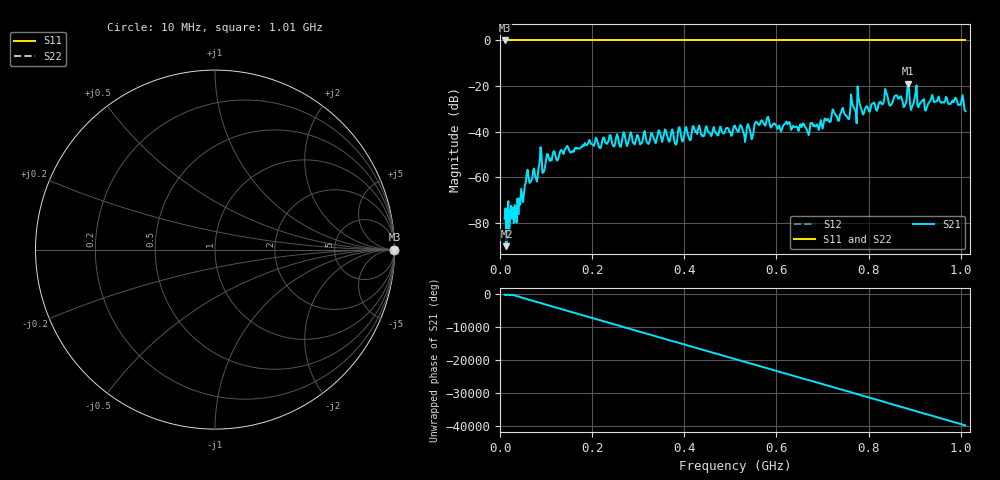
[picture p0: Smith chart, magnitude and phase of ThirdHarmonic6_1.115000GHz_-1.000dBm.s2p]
! 8/16/2025 10:39:49 AM
! C:\ANRITSUVNA\TEMP\TEMP.S2P
! CHANNEL.1
! TR.MEASUREMENT
! RAW.DATA
! RF.CORRECTION.OFF
! AVERAGING.OFF
! IF.BANDWIDTH: 5KHZ
! SWEEPTYPE:  FREQ.SWEEP(Linear)
! Reference Plane Port Info
! PORT:  PORT1  PORT2
! DISTANCE:  0  m  0  m
! TIME:  0  s  0  s
! PHASE.OFFSET:  0  deg.  0  deg.
! LOSS:  0  dB  0  dB
! REF.LOSS:  0  dB  0  dB
! REF.FREQ:  0  Hz  0  Hz
! Power Info
! POWER:  -20  dBm  -20  dBm
! EFF.POWER:  -20  dBm  -20  dBm
! SOURCE.ATTEN:  0  dB  0  dB
! TEST.ATTEN:  0  dB  0  dB
# GHZ S RI R 50.0
! FREQ.GHZ  S11RE  S11IM  S21RE  S21IM  S12RE  S12IM  S22RE  S22IM
!; PortSelection: Port_12
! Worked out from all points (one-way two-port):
!   501 points, 10 MHz to 1.01 GHz, reference 50 ohm
!   highest |S21| = -18.91 dB at 886 MHz (marker M1); lowest = -90.1 dB at 14 MHz (marker M2)
!   lowest |S11| = 0.0 dB at 10 MHz (marker M3)
!   |S11| at or under -10 dB: nowhere
!   |S22| runs from 0.0 to 0.0 dB; largest |S21 - S12| = 1.1
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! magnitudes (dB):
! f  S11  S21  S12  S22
! 10 MHz  0.0  -78.1  0.0  0.0
! 14 MHz  0.0  -90.1  0.0  0.0
! 40 MHz  0.0  -76.1  0.0  0.0
! 58 MHz  0.0  -58.3  0.0  0.0
! 80 MHz  0.0  -61.8  0.0  0.0
! 86 MHz  0.0  -53.6  0.0  0.0
! 96 MHz  0.0  -57.1  0.0  0.0
! 104 MHz  0.0  -49.9  0.0  0.0
! 178 MHz  0.0  -46.6  0.0  0.0
! 344 MHz  0.0  -39.4  0.0  0.0
! 380 MHz  0.0  -45.2  0.0  0.0
! 510 MHz  0.0  -37.3  0.0  0.0
! 678 MHz  0.0  -36.2  0.0  0.0
! 754 MHz  0.0  -33.8  0.0  0.0
! 780 MHz  0.0  -27.1  0.0  0.0
! 788 MHz  0.0  -32.5  0.0  0.0
! 844 MHz  0.0  -27.6  0.0  0.0
! 878 MHz  0.0  -28.9  0.0  0.0
! 886 MHz  0.0  -18.9  0.0  0.0
! 894 MHz  0.0  -29.2  0.0  0.0
! 900 MHz  0.0  -24.9  0.0  0.0
! 1.01 GHz  0.0  -31.0  0.0  0.0
